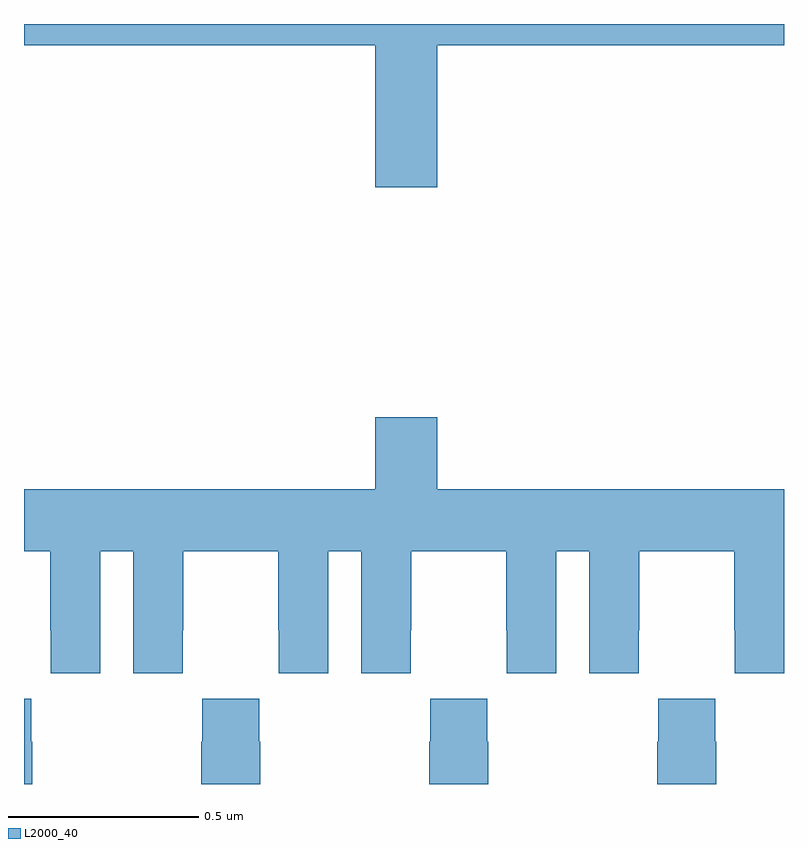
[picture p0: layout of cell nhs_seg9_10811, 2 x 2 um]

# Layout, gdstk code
import gdstk
lib = gdstk.Library(unit=1e-6, precision=1e-09)
def P(c, l, *ps):  # polygons
    for p in ps: c.add(gdstk.Polygon(p, *l))
L2000_40 = (2000, 40)

nhs_seg9_10811 = lib.new_cell('nhs_seg9_10811')
P(nhs_seg9_10811, L2000_40, [(249.088,1172.444),(250,1172.444),(250,1172.5),(248,1172.5),(248,1172.444),(248.924,1172.444),(248.924,1172.07),(249.088,1172.07)],
  [(248.2,1171.112),(248.288,1171.112),(248.288,1170.792),(248.418,1170.792),(248.418,1170.904),(248.419,1170.904),(248.419,1171.112),(248.669,1171.112),(248.669,1170.904),(248.67,1170.904),(248.67,1170.792),(248.8,1170.792),(248.8,1171.112),(248.888,1171.112),(248.888,1170.792),(249.018,1170.792),(249.018,1170.904),(249.019,1170.904),(249.019,1171.112),(249.269,1171.112),(249.269,1170.904),(249.27,1170.904),(249.27,1170.792),(249.4,1170.792),(249.4,1171.112),(249.488,1171.112),(249.488,1170.792),(249.618,1170.792),(249.618,1170.904),(249.619,1170.904),(249.619,1171.112),(249.869,1171.112),(249.869,1170.904),(249.87,1170.904),(249.87,1170.792),(250,1170.792),(250,1171.276),(249.088,1171.276),(249.088,1171.465),(248.924,1171.465),(248.924,1171.276),(248,1171.276),(248,1171.112),(248.069,1171.112),(248.069,1170.904),(248.07,1170.904),(248.07,1170.792),(248.2,1170.792)],
  [(248.622,1170.611),(248.619,1170.611),(248.619,1170.724),(248.469,1170.724),(248.469,1170.611),(248.467,1170.611),(248.467,1170.5),(248.622,1170.5)],
  [(249.222,1170.611),(249.219,1170.611),(249.219,1170.724),(249.069,1170.724),(249.069,1170.611),(249.067,1170.611),(249.067,1170.5),(249.222,1170.5)],
  [(249.822,1170.611),(249.819,1170.611),(249.819,1170.724),(249.669,1170.724),(249.669,1170.611),(249.667,1170.611),(249.667,1170.5),(249.822,1170.5)],
  [(248.022,1170.611),(248.019,1170.611),(248.019,1170.724),(248,1170.724),(248,1170.5),(248.022,1170.5)])

lib.write_gds('nhs_seg9_10811.gds')
